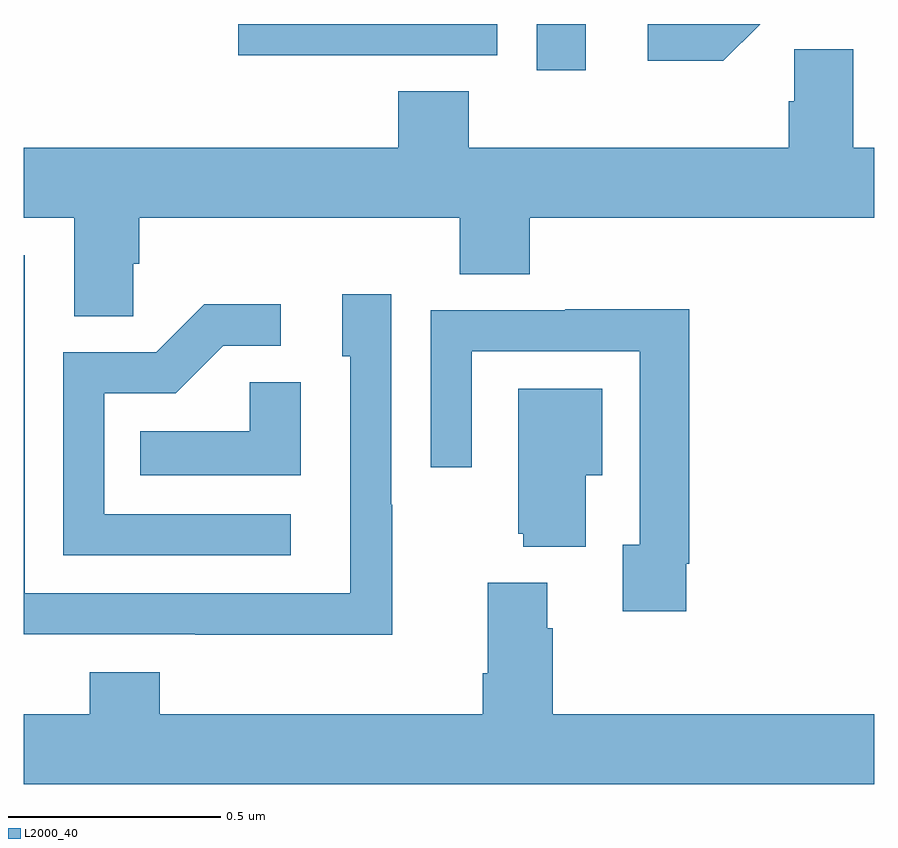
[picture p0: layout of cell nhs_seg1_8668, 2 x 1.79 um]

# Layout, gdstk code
import gdstk
lib = gdstk.Library(unit=1e-6, precision=1e-09)
def R(c, l, rs):  # rectangles x0, y0, x1, y1
    for r in rs: c.add(gdstk.rectangle(r[:2], r[2:], *l))
def P(c, l, *ps):  # polygons
    for p in ps: c.add(gdstk.Polygon(p, *l))
L2000_40 = (2000, 40)

nhs_seg1_8668 = lib.new_cell('nhs_seg1_8668')
R(nhs_seg1_8668, L2000_40, [(220.206,540.09,220.321,540.199)])
P(nhs_seg1_8668, L2000_40, [(220.732,540.199),(220.467,540.199),(220.467,540.113),(220.645,540.113)],
  [(219.797,540.126),(220.113,540.126),(220.113,540.199),(219.505,540.199),(219.505,540.125),(219.797,540.125)],
  [(219.258,539.635),(219.272,539.635),(219.272,539.744),(220.025,539.744),(220.025,539.611),(220.19,539.611),(220.19,539.744),(221,539.744),(221,539.908),(220.951,539.908),(220.951,540.14),(220.812,540.14),(220.812,540.017),(220.799,540.017),(220.799,539.908),(220.046,539.908),(220.046,540.041),(219.881,540.041),(219.881,539.908),(219,539.908),(219,539.744),(219.119,539.744),(219.119,539.512),(219.258,539.512)],
  [(219.867,539.069),(219.864,539.069),(219.864,539.563),(219.749,539.563),(219.749,539.418),(219.768,539.418),(219.768,538.86),(219.003,538.86),(219.003,539.655),(219,539.655),(219,538.764),(219.403,538.764),(219.403,538.763),(219.867,538.763)],
  [(219.628,539.046),(219.189,539.046),(219.189,539.331),(219.358,539.331),(219.469,539.442),(219.604,539.442),(219.604,539.54),(219.425,539.54),(219.312,539.427),(219.093,539.427),(219.093,538.95),(219.628,538.95)],
  [(220.558,538.93),(220.565,538.93),(220.565,539.528),(220.273,539.528),(220.273,539.526),(219.957,539.526),(219.957,539.157),(220.053,539.157),(220.053,539.43),(220.449,539.43),(220.449,538.974),(220.409,538.974),(220.409,538.818),(220.558,538.818)],
  [(219.652,539.357),(219.531,539.357),(219.531,539.242),(219.274,539.242),(219.274,539.138),(219.652,539.138)],
  [(220.321,539.138),(220.36,539.138),(220.36,539.341),(220.163,539.341),(220.163,539.001),(220.175,539.001),(220.175,538.97),(220.321,538.97)],
  [(221,538.576),(220.244,538.576),(220.244,538.778),(220.231,538.778),(220.231,538.885),(220.091,538.885),(220.091,538.672),(220.079,538.672),(220.079,538.576),(219.32,538.576),(219.32,538.675),(219.155,538.675),(219.155,538.576),(219,538.576),(219,538.412),(221,538.412)])

lib.write_gds('nhs_seg1_8668.gds')
